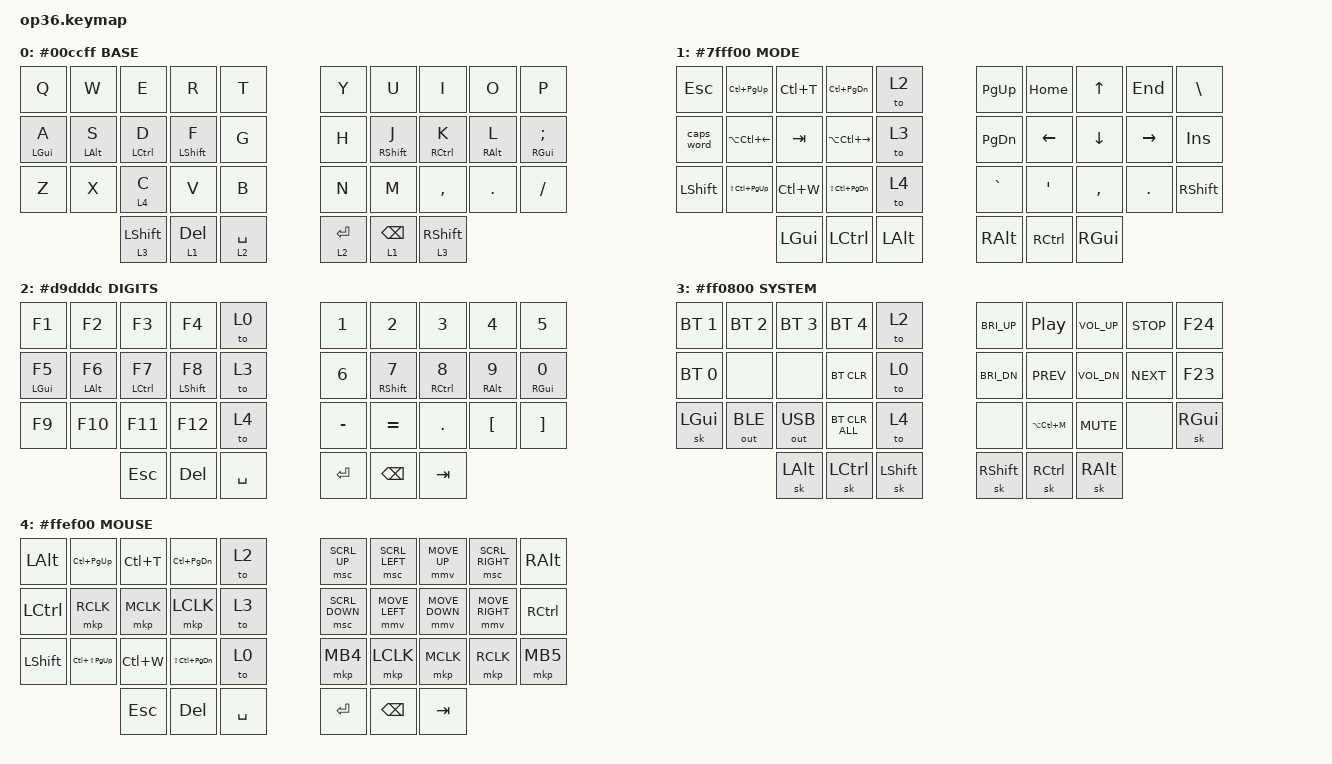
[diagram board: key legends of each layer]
#include "keys_ru.h"

#define ZMK_POINTING_DEFAULT_MOVE_VAL 1500  // default: 600
#define ZMK_POINTING_DEFAULT_SCRL_VAL 20    // default: 10

#include <behaviors.dtsi>
#include <dt-bindings/zmk/bt.h>
#include <dt-bindings/zmk/keys.h>
#include <dt-bindings/zmk/outputs.h>
#include <dt-bindings/zmk/pointing.h>

&mt {
    quick-tap-ms = <200>;
    flavor = "tap-preferred";
    require-prior-idle-ms = <125>;
};

&sk {
    release-after-ms = <5000>;
    quick-release;
};

&caps_word { continue-list = <UNDERSCORE MINUS BACKSPACE DELETE LEFT RIGHT>; };

/ {
    behaviors {
        hml: home_row_mod_left {
            compatible = "zmk,behavior-hold-tap";
            #binding-cells = <2>;
            flavor = "balanced";
            require-prior-idle-ms = <150>;
            tapping-term-ms = <280>;
            quick-tap-ms = <175>;
            bindings = <&kp>, <&kp>;

            hold-trigger-key-positions = <5 6 7 8 9 15 16 17 18 19 25 26 27 28 29 33 34 35>;
            hold-trigger-on-release;
        };

        hmr: home_row_mod_right {
            compatible = "zmk,behavior-hold-tap";
            #binding-cells = <2>;
            flavor = "balanced";
            require-prior-idle-ms = <150>;
            tapping-term-ms = <280>;
            quick-tap-ms = <175>;
            bindings = <&kp>, <&kp>;

            hold-trigger-key-positions = <0 1 2 3 4 10 11 12 13 14 20 21 22 23 24 30 31 32>;
            hold-trigger-on-release;
        };
    };

    combos {
        compatible = "zmk,combos";

        LBKT_COMBO {
            bindings = <&kp LBKT>;
            key-positions = <6 7>;
        };

        RBKT_COMBO {
            bindings = <&kp RBKT>;
            key-positions = <7 8>;
        };

        LSHIFT_COMBO {
            bindings = <&kp LSHFT>;
            key-positions = <20 21>;
        };

        NUBS_COMBO {
            bindings = <&kp BACKSLASH>;
            key-positions = <8 9>;
        };

        SQT_COMBO {
            bindings = <&kp SQT>;
            key-positions = <18 19>;
        };

        RSHIFT_COMBO {
            bindings = <&kp RSHFT>;
            key-positions = <28 29>;
        };

        right_control_combo {
            bindings = <&kp RIGHT_CONTROL>;
            key-positions = <28 27>;
        };
    };

    keymap {
        compatible = "zmk,keymap";

        base {
            bindings = <
  &kp Q        &kp W        &kp E         &kp R             &kp T                                  &kp Y       &kp U              &kp I         &kp O             &kp P
  &hml LGUI A  &hml LALT S  &hml LCTRL D  &hml LSHFT F      &kp G                                  &kp H       &hmr RSHFT J       &hmr RCTRL K  &hmr RIGHT_ALT L  &hmr RGUI SEMICOLON
  &kp Z        &kp X        &lt 4 C       &kp V             &kp B                                  &kp N       &kp M              &kp COMMA     &kp DOT           &kp SLASH
                                          &lt 3 LEFT_SHIFT  &lt 1 DEL  &lt 2 SPACE    &lt 2 ENTER  &lt 1 BSPC  &lt 3 RIGHT_SHIFT
            >;

            label = "base";
            display-name = "#00ccff BASE";
        };

        mode {
            bindings = <
  &kp ESC         &kp LC(PG_UP)      &kp LC(T)  &kp LC(PAGE_DOWN)  &to 2                                     &kp PG_UP  &kp HOME          &kp UP     &kp END    &kp BACKSLASH
  &caps_word      &kp LA(LC(LEFT))   &kp TAB    &kp LA(LC(RIGHT))  &to 3                                     &kp PG_DN  &kp LEFT          &kp DOWN   &kp RIGHT  &kp INS
  &kp LEFT_SHIFT  &kp LS(LC(PG_UP))  &kp LC(W)  &kp LS(LC(PG_DN))  &to 4                                     &kp GRAVE  &kp SINGLE_QUOTE  &kp COMMA  &kp DOT    &kp RIGHT_SHIFT
                                                &kp LEFT_GUI       &kp LCTRL  &kp LEFT_ALT    &kp RIGHT_ALT  &kp RCTRL  &kp RGUI
            >;

            display-name = "#7fff00 MODE";
            label = "mode";
        };

        digits {
            bindings = <
  &kp F1            &kp F2            &kp F3                &kp F4              &to 0                            &kp N1         &kp N2               &kp N3                 &kp N4             &kp N5
  &hml LEFT_GUI F5  &hml LEFT_ALT F6  &hml LEFT_CONTROL F7  &hml LEFT_SHIFT F8  &to 3                            &kp N6         &hmr RIGHT_SHIFT N7  &hmr RIGHT_CONTROL N8  &hmr RIGHT_ALT N9  &hmr RIGHT_GUI N0
  &kp F9            &kp F10           &kp F11               &kp F12             &to 4                            &kp MINUS      &kp EQUAL            &kp DOT                &kp LEFT_BRACKET   &kp RIGHT_BRACKET
                                                            &kp ESC             &kp DEL  &kp SPACE    &kp ENTER  &kp BACKSPACE  &kp TAB
            >;

            display-name = "#d9dddc DIGITS";
            label = "digits";
        };

        system {
            bindings = <
  &bt BT_SEL 1  &bt BT_SEL 2  &bt BT_SEL 3  &bt BT_SEL 4    &to 2                                         &kp C_BRI_UP  &kp C_PP       &kp C_VOLUME_UP  &kp C_STOP  &kp F24
  &bt BT_SEL 0  &none         &none         &bt BT_CLR      &to 0                                         &kp C_BRI_DN  &kp C_PREV     &kp C_VOL_DN     &kp C_NEXT  &kp F23
  &sk LEFT_GUI  &out OUT_BLE  &out OUT_USB  &bt BT_CLR_ALL  &to 4                                         &none         &kp LA(LC(M))  &kp C_MUTE       &none       &sk RIGHT_GUI
                                            &sk LEFT_ALT    &sk LCTRL  &sk LEFT_SHIFT    &sk RIGHT_SHIFT  &sk RCTRL     &sk RIGHT_ALT
            >;

            display-name = "#ff0800 SYSTEM";
            label = "system";
        };

        mouse {
            bindings = <
  &kp LEFT_ALT    &kp LC(PG_UP)      &kp LC(T)  &kp LC(PG_DN)      &to 2                            &msc SCRL_UP    &msc SCRL_LEFT  &mmv MOVE_UP    &msc SCRL_RIGHT  &kp RIGHT_ALT
  &kp LCTRL       &mkp RCLK          &mkp MCLK  &mkp LCLK          &to 3                            &msc SCRL_DOWN  &mmv MOVE_LEFT  &mmv MOVE_DOWN  &mmv MOVE_RIGHT  &kp RCTRL
  &kp LEFT_SHIFT  &kp LC(LS(PG_UP))  &kp LC(W)  &kp LS(LC(PG_DN))  &to 0                            &mkp MB4        &mkp LCLK       &mkp MCLK       &mkp RCLK        &mkp MB5
                                                &kp ESC            &kp DEL  &kp SPACE    &kp ENTER  &kp BACKSPACE   &kp TAB
            >;

            label = "mouse";
            display-name = "#ffef00 MOUSE";
        };
    };

    conditional_layers { compatible = "zmk,conditional-layers"; };
};
